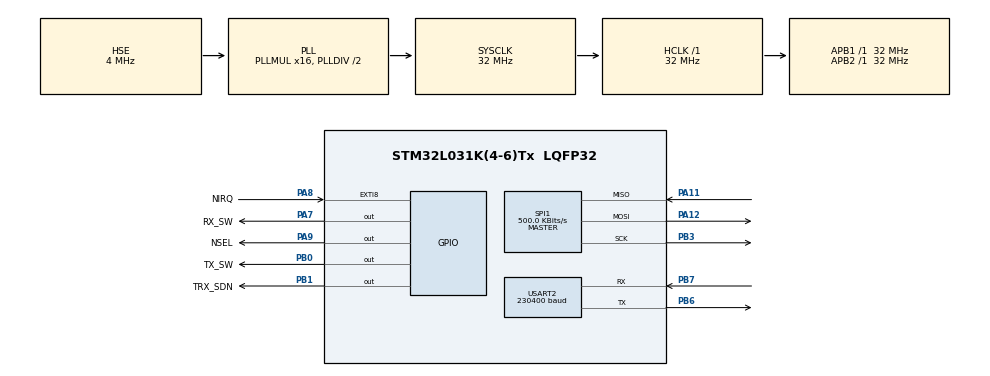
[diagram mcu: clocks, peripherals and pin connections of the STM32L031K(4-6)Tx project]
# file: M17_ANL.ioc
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Mcu.Family=STM32L0
Mcu.Name=STM32L031K(4-6)Tx
Mcu.Package=LQFP32
NVIC.EXTI4_15_IRQn=true\:0\:0\:false\:false\:true\:true
NVIC.TIM21_IRQn=true\:0\:0\:false\:false\:true\:true
NVIC.TIM2_IRQn=true\:0\:0\:false\:false\:true\:true
NVIC.USART2_IRQn=true\:0\:0\:false\:false\:true\:true
PA0-CK_IN.Mode=HSE-External-Clock-Source-for-LittleNemo
PA0-CK_IN.Signal=RCC_CK_IN
PA11.GPIO_PuPd=GPIO_PULLUP
PA11.Mode=Full_Duplex_Master
PA11.Signal=SPI1_MISO
PA12.GPIO_PuPd=GPIO_PULLUP
PA12.Mode=Full_Duplex_Master
PA12.Signal=SPI1_MOSI
PA7.GPIO_Label=RX_SW
PA7.GPIO_Speed=GPIO_SPEED_FREQ_MEDIUM
PA7.PinState=GPIO_PIN_SET
PA7.Signal=GPIO_Output
PA8.GPIO_Label=NIRQ
PA8.GPIO_ModeDefaultEXTI=GPIO_MODE_IT_FALLING
PA8.GPIO_PuPd=GPIO_PULLUP
PA8.Signal=GPXTI8
PA9.GPIO_Label=NSEL
PA9.GPIO_Speed=GPIO_SPEED_FREQ_MEDIUM
PA9.PinState=GPIO_PIN_SET
PA9.Signal=GPIO_Output
PB0.GPIO_Label=TX_SW
PB0.GPIO_Speed=GPIO_SPEED_FREQ_MEDIUM
PB0.Signal=GPIO_Output
PB1.GPIO_Label=TRX_SDN
PB1.GPIO_Speed=GPIO_SPEED_FREQ_MEDIUM
PB1.PinState=GPIO_PIN_SET
PB1.Signal=GPIO_Output
PB3.GPIO_PuPd=GPIO_PULLDOWN
PB3.Mode=Full_Duplex_Master
PB3.Signal=SPI1_SCK
PB6.Mode=Asynchronous
PB6.Signal=USART2_TX
PB7.Mode=Asynchronous
PB7.Signal=USART2_RX
ProjectManager.HeapSize=0x200
ProjectManager.StackSize=0x400
ProjectManager.TargetToolchain=SW4STM32
RCC.AHBFreq_Value=32000000
RCC.APB1Freq_Value=32000000
RCC.APB1TimFreq_Value=32000000
RCC.APB2Freq_Value=32000000
RCC.APB2TimFreq_Value=32000000
RCC.HCLKFreq_Value=32000000
RCC.HSE_VALUE=4000000
RCC.HSI16_VALUE=16000000
RCC.HSI_VALUE=16000000
RCC.LSE_VALUE=32768
RCC.MSI_VALUE=2097000
RCC.PLLMUL=RCC_PLLMUL_16
RCC.PLLSourceVirtual=RCC_PLLSOURCE_HSE
RCC.SYSCLKFreq_VALUE=32000000
RCC.SYSCLKSource=RCC_SYSCLKSOURCE_PLLCLK
RCC.VCOOutputFreq_Value=64000000
SPI1.BaudRatePrescaler=SPI_BAUDRATEPRESCALER_64
SPI1.CalculateBaudRate=500.0 KBits/s
SPI1.Direction=SPI_DIRECTION_2LINES
SPI1.Mode=SPI_MODE_MASTER
SPI1.VirtualType=VM_MASTER
TIM2.Period=9
TIM2.Prescaler=31999
TIM2.TIM_MasterOutputTrigger=TIM_TRGO_UPDATE
TIM21.Period=29
TIM21.Prescaler=31999
TIM21.TIM_MasterOutputTrigger=TIM_TRGO_UPDATE
USART2.BaudRate=230400
USART2.VirtualMode-Asynchronous=VM_ASYNC
VP_TIM21_VS_ClockSourceINT.Mode=Internal
VP_TIM2_VS_ClockSourceINT.Mode=Internal
board=custom

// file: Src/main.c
/**
  ******************************************************************************
  * @file           : main.c
  * @brief          : Main program body
  ******************************************************************************
  ** This notice applies to any and all portions of this file
  * that are not between comment pairs USER CODE BEGIN and
  * USER CODE END. Other portions of this file, whether
  * inserted by the user or by software development tools
  * are owned by their respective copyright owners.
  *
  * COPYRIGHT(c) 2019 STMicroelectronics
  *
  * Redistribution and use in source and binary forms, with or without modification,
  * are permitted provided that the following conditions are met:
  *   1. Redistributions of source code must retain the above copyright notice,
  *      this list of conditions and the following disclaimer.
  *   2. Redistributions in binary form must reproduce the above copyright notice,
  *      this list of conditions and the following disclaimer in the documentation
  *      and/or other materials provided with the distribution.
  *   3. Neither the name of STMicroelectronics nor the names of its contributors
  *      may be used to endorse or promote products derived from this software
  *      without specific prior written permission.
  *
  * THIS SOFTWARE IS PROVIDED BY THE COPYRIGHT HOLDERS AND CONTRIBUTORS "AS IS"
  * AND ANY EXPRESS OR IMPLIED WARRANTIES, INCLUDING, BUT NOT LIMITED TO, THE
  * IMPLIED WARRANTIES OF MERCHANTABILITY AND FITNESS FOR A PARTICULAR PURPOSE ARE
  * DISCLAIMED. IN NO EVENT SHALL THE COPYRIGHT HOLDER OR CONTRIBUTORS BE LIABLE
  * FOR ANY DIRECT, INDIRECT, INCIDENTAL, SPECIAL, EXEMPLARY, OR CONSEQUENTIAL
  * DAMAGES (INCLUDING, BUT NOT LIMITED TO, PROCUREMENT OF SUBSTITUTE GOODS OR
  * SERVICES; LOSS OF USE, DATA, OR PROFITS; OR BUSINESS INTERRUPTION) HOWEVER
  * CAUSED AND ON ANY THEORY OF LIABILITY, WHETHER IN CONTRACT, STRICT LIABILITY,
  * OR TORT (INCLUDING NEGLIGENCE OR OTHERWISE) ARISING IN ANY WAY OUT OF THE USE
  * OF THIS SOFTWARE, EVEN IF ADVISED OF THE POSSIBILITY OF SUCH DAMAGE.
  *
  ******************************************************************************
  */
#include "main.h"
#include "stm32l0xx_hal.h"

/* USER CODE BEGIN Includes */
#include "radio_config.h"

#define	FRAMESIZE		160*2					//20+20=40ms frame
#define	RAW_BYTES		8*2
#define	CRC_LEN			2
#define	ENC_LEN			(RAW_BYTES)*2
#define	PLOAD_LEN		93

#define RCVD_BUFF_LEN	110
/* USER CODE END Includes */

SPI_HandleTypeDef hspi1;

TIM_HandleTypeDef htim2;
TIM_HandleTypeDef htim21;

UART_HandleTypeDef huart2;

/* USER CODE BEGIN PV */
/* Private variables ---------------------------------------------------------*/
//UART RELATED
volatile uint8_t    rcvd[RCVD_BUFF_LEN];           //receiving buffer
volatile uint8_t    rcv_cnt=0;          			//received bytes counter
volatile uint8_t    extr_val[12];          			//for extracted value
volatile uint8_t    extr_val_len=0;     			//number of digits
volatile uint32_t   val=0;              			//value
volatile uint8_t    first_tim_int=1;    			//first timer interrupt? for uart rcv timeout

volatile uint8_t    tx_pwr=0;
volatile uint32_t   trx_freq=0;

//Si 446x RELATED
static const uint8_t config[] = RADIO_CONFIGURATION_DATA_ARRAY;
volatile uint8_t ints[8];					//interrupts

//RADIO STATE
volatile uint8_t r_initd=0;					//initialized?

//RCV FIELDS - EXTRACTED FROM RECEIVED DATA
volatile uint8_t rcv_buff[PLOAD_LEN];
volatile uint8_t rcv_voice[RAW_BYTES];

//TX-RX
volatile uint8_t first_rx=1;						//is this the first TX->RX switchover?
/* USER CODE END PV */

void SystemClock_Config(void);
static void MX_GPIO_Init(void);
static void MX_TIM2_Init(void);
static void MX_SPI1_Init(void);
static void MX_USART2_UART_Init(void);
static void MX_TIM21_Init(void);

/* USER CODE BEGIN PFP */
/* Private function prototypes -----------------------------------------------*/

/* USER CODE END PFP */

/* USER CODE BEGIN 0 */
//------------------------------SPI - Si4463------------------------------
/*void HAL_SPI_TxCpltCallback(SPI_HandleTypeDef *hspi)
{
	HAL_GPIO_WritePin(SPI2_CS_GPIO_Port, SPI2_CS_Pin, 1);
}*/

/*void HAL_SPI_RxCpltCallback(SPI_HandleTypeDef *hspi)
{
	//HAL_GPIO_WritePin(SPI2_CS_GPIO_Port, SPI2_CS_Pin, 1);
}*/

void SPI_WaitForCTS(void)
{
	uint8_t cts[1]={0x00};
	const uint8_t dta[1]={0x44};

	do
	{
		HAL_GPIO_WritePin(NSEL_GPIO_Port, NSEL_Pin, 0);
		HAL_SPI_Transmit(&hspi1, dta, 1, 100);
		HAL_SPI_Receive(&hspi1, cts, 1, 100);
		//if(cts[0]!=0xFF)
			HAL_GPIO_WritePin(NSEL_GPIO_Port, NSEL_Pin, 1);
	}while(cts[0]!=0xFF);
}

void SPI_Send(uint8_t *data, uint8_t len)
{
	SPI_WaitForCTS();
	HAL_GPIO_WritePin(NSEL_GPIO_Port, NSEL_Pin, 0);
	HAL_SPI_Transmit(&hspi1, data, len, 100);
	HAL_GPIO_WritePin(NSEL_GPIO_Port, NSEL_Pin, 1);
}

void SPI_GetResponse(uint8_t len, uint8_t *data)
{
	uint8_t cts[1]={0x00};
	uint8_t dta[1]={0x44};

	while(cts[0]!=0xFF)
	{
		HAL_GPIO_WritePin(NSEL_GPIO_Port, NSEL_Pin, 0);
		HAL_SPI_Transmit(&hspi1, dta, 1, 100);
		HAL_SPI_Receive(&hspi1, cts, 1, 1);

		if(cts[0]!=0xFF)
			HAL_GPIO_WritePin(NSEL_GPIO_Port, NSEL_Pin, 1);
	}

	HAL_SPI_Receive(&hspi1, data, len, 100);

	HAL_GPIO_WritePin(NSEL_GPIO_Port, NSEL_Pin, 1);
}

void SPI_ReadRxDataBuff(uint8_t len, uint8_t *data)
{
	uint8_t cmd[1]={0x77};

	HAL_GPIO_WritePin(NSEL_GPIO_Port, NSEL_Pin, 0);
	HAL_SPI_Transmit(&hspi1, cmd, 1, 100);
	HAL_SPI_Receive(&hspi1, data, len, 100);
	HAL_GPIO_WritePin(NSEL_GPIO_Port, NSEL_Pin, 1);
}

//------------------------------Si446x FUNCS------------------------------
void Si_Reset(void)
{
	HAL_GPIO_WritePin(TRX_SDN_GPIO_Port, TRX_SDN_Pin, 1);
	HAL_Delay(1);
	HAL_GPIO_WritePin(TRX_SDN_GPIO_Port, TRX_SDN_Pin, 0);
	HAL_Delay(5);
}

static void Si_SetProp(uint8_t* vals, uint8_t group, uint8_t number, uint8_t len)
{
	uint8_t data[16]={0x11,	group, len, number};

	memcpy(data + 4, vals, len);

	SPI_WaitForCTS();
	SPI_Send(data, len + 4);
}

static void Si_StartupConfig(void)
{
	uint8_t buff[17];

	for(uint16_t i=0; i<sizeof(config); i++)
	{
		memcpy(buff, &config[i], sizeof(buff));
		SPI_WaitForCTS();
		SPI_Send(&buff[1], buff[0]);
		i += buff[0];
	}
}

static void Si_Interrupts(void* buff)
{
	uint8_t data = 0x20;

	SPI_Send(&data, 1);
	if(buff!=NULL)
		SPI_GetResponse(8, buff);
}

/*static void Si_InterruptsNoCTS(void* buff)
{
	uint8_t v = 0x20;

	HAL_GPIO_WritePin(SPI2_CS_GPIO_Port, SPI2_CS_Pin, 0);
	HAL_SPI_Transmit(&hspi2, &v, 1, 100);
	HAL_SPI_Receive(&hspi2, buff, 8, 100);
	HAL_GPIO_WritePin(SPI2_CS_GPIO_Port, SPI2_CS_Pin, 1);
}*/

static void Si_Interrupts2(void* buff, uint8_t clearPH, uint8_t clearMODEM, uint8_t clearCHIP)
{
	uint8_t data[] = {
		0x20,
		clearPH,
		clearMODEM,
		clearCHIP
	};

	SPI_Send(data, 4);
	if(buff!=NULL)
		SPI_GetResponse(8, buff);
}

static uint8_t Si_GetState(void)
{
	uint8_t state[2]={0, 0};
	uint8_t get_state_cmd=0x33;

	SPI_WaitForCTS();
	SPI_Send(&get_state_cmd, 1);
	SPI_GetResponse(2, state);

	return state[0]&0x0F;
}

static void Si_SetState(uint8_t newState)
{
	uint8_t data[2]={0x34, newState};

	SPI_Send(data, 2);
}

void Si_Sleep(void)
{
	uint8_t state=Si_GetState();

	if(state==7 || state==5)
		return;

	Si_SetState(1);
}

void Si_SetTxPower(uint8_t pwr)
{
	/*uint8_t msg[5]={0x11, 0x22, 0x01, 0x01, pwr};

	SPI_Send(&msg, 5);*/
	Si_SetProp(&pwr, 0x22, 0x01, 1);
}

void Si_ClearFIFO(uint8_t fifos)
{
	uint8_t msg[3]={0x15, fifos};

	SPI_Send(&msg, 2);
}

void Si_WriteTxDataBuff(uint8_t *data, uint8_t len)
{
	uint8_t cmd = 0x66;

	HAL_GPIO_WritePin(NSEL_GPIO_Port, NSEL_Pin, 0);
	HAL_SPI_Transmit(&hspi1, &cmd, 1, 100);
	HAL_SPI_Transmit(&hspi1, data, len, 100);
	HAL_GPIO_WritePin(NSEL_GPIO_Port, NSEL_Pin, 1);
}

void Si_StartTx(uint8_t ch, uint8_t end_state, uint8_t tx_len)
{
	uint8_t msg[7]={0x31, ch, (uint8_t)end_state<<4, 0, tx_len, 0, 0};

	SPI_WaitForCTS();
	SPI_Send(&msg, 7);
}

void Si_StartRx(uint8_t ch, uint8_t len)
{
	//Si_SetState(3);		//RX state
	Si_ClearFIFO(3);	//clear both FIFOs
	//Si_Interrupts2(NULL, 0, 0, 0xFF);	//clear some interrupts

	uint8_t msg[8]={0x32, ch, 0, 0, len, 0x08, 0x08, 0x08};

	SPI_Send(msg, 8);
}

void Si_TxData(uint8_t *d, uint8_t len, uint8_t ch)
{
	Si_ClearFIFO(3);
	Si_Interrupts2(NULL, 0, 0, 0xFF);

	Si_WriteTxDataBuff(d, len);
	Si_StartTx(ch, 3, len);	//3 - READY state after TX complete
}

void Si_FreqSet(uint32_t freq)	//freq in Hz
{
	uint8_t inte=0x3C;	//default values
	uint64_t frac=0x00080000;

	freq=freq*(30.0/32.0);
	inte=freq/7500000-1;
	frac=(freq-(uint32_t)(inte+1)*7500000)/75;
	frac=(uint64_t)frac*(1<<19)/100000+(uint32_t)(1<<19);

	uint8_t vals[4]={inte, (frac>>16)&0xFF, (frac>>8)&0xFF, frac&0xFF};

	Si_SetProp(&vals, 0x40, 0x00, 4);
}

uint8_t Si_GetRSSI(void)
{
	uint8_t v=0x50;
	uint8_t r[4];

	HAL_GPIO_WritePin(NSEL_GPIO_Port, NSEL_Pin, 0);
	HAL_SPI_Transmit(&hspi1, &v, 1, 100);
	HAL_SPI_Receive(&hspi1, r, 4, 100);
	HAL_GPIO_WritePin(NSEL_GPIO_Port, NSEL_Pin, 1);

	return r[0];
}

void Si_GetInfo(uint8_t *resp)
{
	uint8_t cmd=0x01;

	SPI_Send(&cmd, 1);
	SPI_WaitForCTS();
	SPI_GetResponse(8, resp);
}

uint8_t checkTRX(void)
{
	uint8_t info[8];

	Si_GetInfo(info);

	if(info[1]==0x44 && info[2]==0x63)
		return 0;

	return 1;
}

//------------------------------RF SWITCH FUNCS------------------------------
static void RF_SetTX(void)
{
	HAL_GPIO_WritePin(RX_SW_GPIO_Port, RX_SW_Pin, 0);
	HAL_GPIO_WritePin(TX_SW_GPIO_Port, TX_SW_Pin, 1);
	//r_tx=1;
}

static void RF_SetRX(void)
{
	HAL_GPIO_WritePin(RX_SW_GPIO_Port, RX_SW_Pin, 1);
	HAL_GPIO_WritePin(TX_SW_GPIO_Port, TX_SW_Pin, 0);
	//r_tx=0;
}
//--------------------------INTERRUPTS----------------------
void HAL_GPIO_EXTI_Callback(uint16_t GPIO_Pin)
{
	//Si4463 TRX module interrupt
	if(GPIO_Pin==GPIO_PIN_8 && r_initd)
	{
		//Si nIRQ interrupt request
		Si_Interrupts(ints);	//check pending interrupt flags

		//PACKET_RX_PEND flag set?
		if(ints[2]&(1<<4))
		{
			//retrieve RX buff contents
			SPI_ReadRxDataBuff(PLOAD_LEN, rcv_buff);
			Si_ClearFIFO(3);

			//scanner mode
			HAL_UART_Transmit(&huart2, "AT+FRAME=", 9, 100);
			HAL_UART_Transmit(&huart2, rcv_buff, PLOAD_LEN, 100);
			HAL_UART_Transmit(&huart2, "\r\n", 2, 100);
		}

		//clear pending flags
		Si_Interrupts(NULL);
	}
}

void HAL_UART_RxCpltCallback(UART_HandleTypeDef *huart)
{
	if(rcvd[0]=='A' && rcvd[1]=='T' && rcvd[2]=='+')
	{
		if(rcvd[3]=='F' && rcvd[4]=='R')
		{
			if(rcvd[5]=='A' && rcvd[6]=='M' && rcvd[7]=='E' && rcvd[PLOAD_LEN+9]=='\r' && rcvd[PLOAD_LEN+10]=='\n')
			{
				RF_SetTX();
				memcpy(rcv_buff, &rcvd[9], PLOAD_LEN);
				Si_TxData(rcv_buff, PLOAD_LEN, 0);
				HAL_TIM_Base_Start_IT(&htim21);
				HAL_UART_Transmit(&huart2, "OK\r\n", 4, 100);
				memset(rcvd, 0, sizeof(rcvd));
				rcv_cnt=0;
				HAL_UART_Receive_IT(&huart2, &rcvd[0], 1);
			}
			else if(rcvd[5]=='E' && rcvd[6]=='Q')
			{
				if(rcvd[7]=='?' && rcvd[8]=='\r' &&  rcvd[9]=='\n')
				{
					uint8_t resp[22];
					sprintf(resp, "FREQ=%lu\r\n", trx_freq);
					HAL_UART_Transmit(&huart2, resp, strlen(resp), 100);
					memset(rcvd, 0, sizeof(rcvd));
					rcv_cnt=0;
					HAL_UART_Receive_IT(&huart2, &rcvd[0], 1);
				}
				else if(rcvd[7]=='=' && rcvd[17]=='\r' &&  rcvd[18]=='\n')
				{
					for(uint8_t i=8; i<20; i++)
					{
						if((rcvd[i]<'0' || rcvd[i]>'9') && (rcvd[i]!='\r' && rcvd[i]!='\n'))
						{
							extr_val_len=0;
							break;
						}
						if(rcvd[i]=='\r')
						{
							extr_val_len=i-8;
							break;
						}
					}
					if(extr_val_len==9)
					{
						uint32_t mult=1;
						for(int8_t i=extr_val_len-1; i>=0; i--)
						{
							val+=(rcvd[8+i]-'0')*mult;
							mult*=10;
						}
						trx_freq=val;
						Si_FreqSet(trx_freq);
						uint8_t resp[22];
						sprintf(resp, "FREQ=%lu\r\n", val);
						HAL_UART_Transmit(&huart2, resp, strlen(resp), 100);
					}
					else
					{
						HAL_UART_Transmit(&huart2, "ERROR\r\n", 7, 100);
					}

					val=0;
					memset(rcvd, 0, sizeof(rcvd));
					rcv_cnt=0;
					HAL_UART_Receive_IT(&huart2, &rcvd[0], 1);
				}
			}
		}
		else if(rcvd[3]=='P' && rcvd[4]=='W' && rcvd[5]=='R')
		{
			if(rcvd[6]=='?')
			{
				if(rcvd[7]=='\r' && rcvd[8]=='\n')
				{
					uint8_t resp[22];
					sprintf(resp, "PWR=%u\r\n", tx_pwr);
					HAL_UART_Transmit(&huart2, resp, strlen(resp), 100);
					memset(rcvd, 0, sizeof(rcvd));
					rcv_cnt=0;
					HAL_UART_Receive_IT(&huart2, &rcvd[0], 1);
				}
			}
			else if(rcvd[6]=='=' && (rcvd[8]=='\r' || rcvd[9]=='\r' || rcvd[10]=='\r'))
			{
				for(uint8_t i=7; i<15; i++)
				{
					if((rcvd[i]<'0' || rcvd[i]>'9') && (rcvd[i]!='\r' && rcvd[i]!='\n'))
					{
						extr_val_len=0;
						break;
					}
					if(rcvd[i]=='\r')
					{
						extr_val_len=i-7;
						break;
					}
				}
				if(extr_val_len!=0)
				{
					uint32_t mult=1;
					for(int8_t i=extr_val_len-1; i>=0; i--)
					{
						val+=(rcvd[7+i]-'0')*mult;
						mult*=10;
					}
					tx_pwr=val;
					Si_SetTxPower(tx_pwr);
					uint8_t resp[22];
					sprintf(resp, "PWR=%u\r\n", val);
					HAL_UART_Transmit(&huart2, resp, strlen(resp), 100);
				}
				else
				{
					HAL_UART_Transmit(&huart2, "ERROR\r\n", 7, 100);
				}

				val=0;
				memset(rcvd, 0, sizeof(rcvd));
				rcv_cnt=0;
				HAL_UART_Receive_IT(&huart2, &rcvd[0], 1);
			}
		}
	}

	rcv_cnt++;
	HAL_UART_Receive_IT(&huart2, &rcvd[rcv_cnt], 1);
	TIM2->CNT=0;
	HAL_TIM_Base_Start_IT(&htim2);
}

void HAL_TIM_PeriodElapsedCallback(TIM_HandleTypeDef *htim)
{
	if(htim->Instance==TIM2)	//10ms UART receive timeout
	{
		if(first_tim_int)
			first_tim_int=0;
		else
		{
			memset(rcvd, 0, sizeof(rcvd));
			rcv_cnt=0;
			HAL_UART_AbortReceive_IT(&huart2);
			HAL_UART_Receive_IT(&huart2, &rcvd[0], 1);
			HAL_TIM_Base_Stop_IT(&htim2);
			TIM2->CNT=0;
		}
	}
	else if(htim->Instance==TIM21)	//30ms after starting TX switch back to RX mode
	{
		if(first_rx)
		{
			first_rx=0;
		}
		else
		{
			Si_StartRx(0, PLOAD_LEN);
			HAL_TIM_Base_Stop_IT(&htim21);
			TIM21->CNT=0;
		}
	}
}
/* USER CODE END 0 */

int main(void)
{
  /* USER CODE BEGIN 1 */
  memset(rcvd, 0, RCVD_BUFF_LEN);
  /* USER CODE END 1 */

  /* MCU Configuration----------------------------------------------------------*/

  /* Reset of all peripherals, Initializes the Flash interface and the Systick. */
  HAL_Init();

  /* Configure the system clock */
  SystemClock_Config();

  /* Initialize all configured peripherals */
  MX_GPIO_Init();
  MX_TIM2_Init();
  MX_SPI1_Init();
  MX_USART2_UART_Init();
  MX_TIM21_Init();
  /* USER CODE BEGIN 2 */
  //HAL_GPIO_WritePin(NSEL_GPIO_Port, NSEL_Pin, 0);
  RF_SetRX();
  HAL_Delay(500);
  Si_Reset();
  if(checkTRX())	//fucked up comms with Si4463?
  {
	  HAL_UART_Transmit(&huart2, "M17_ANL INIT ERR\r\n", 17, 100);
  	  while(1);
  }

  Si_StartupConfig();
  Si_Interrupts(NULL);
  Si_Sleep();
  trx_freq=439575000;
  Si_FreqSet(trx_freq);
  Si_SetTxPower(tx_pwr);
  Si_StartRx(0, PLOAD_LEN);
  r_initd=1;	//we need this to avoid getting Si IRQ request right after power-up sequence

  HAL_UART_Transmit(&huart2, "M17_ANL INIT OK\r\n", 17, 100);
  HAL_UART_Receive_IT(&huart2, &rcvd[0], 1);
  /* USER CODE END 2 */

  /* Infinite loop */
  /* USER CODE BEGIN WHILE */
  while (1)
  {
	  ;
  /* USER CODE END WHILE */

  }

}

void SystemClock_Config(void)
{

  RCC_OscInitTypeDef RCC_OscInitStruct;
  RCC_ClkInitTypeDef RCC_ClkInitStruct;
  RCC_PeriphCLKInitTypeDef PeriphClkInit;

    /**Configure the main internal regulator output voltage
    */
  __HAL_PWR_VOLTAGESCALING_CONFIG(PWR_REGULATOR_VOLTAGE_SCALE1);

    /**Initializes the CPU, AHB and APB busses clocks
    */
  RCC_OscInitStruct.OscillatorType = RCC_OSCILLATORTYPE_HSE;
  RCC_OscInitStruct.HSEState = RCC_HSE_BYPASS;
  RCC_OscInitStruct.PLL.PLLState = RCC_PLL_ON;
  RCC_OscInitStruct.PLL.PLLSource = RCC_PLLSOURCE_HSE;
  RCC_OscInitStruct.PLL.PLLMUL = RCC_PLLMUL_16;
  RCC_OscInitStruct.PLL.PLLDIV = RCC_PLLDIV_2;
  if (HAL_RCC_OscConfig(&RCC_OscInitStruct) != HAL_OK)
  {
    _Error_Handler(__FILE__, __LINE__);
  }

    /**Initializes the CPU, AHB and APB busses clocks
    */
  RCC_ClkInitStruct.ClockType = RCC_CLOCKTYPE_HCLK|RCC_CLOCKTYPE_SYSCLK
                              |RCC_CLOCKTYPE_PCLK1|RCC_CLOCKTYPE_PCLK2;
  RCC_ClkInitStruct.SYSCLKSource = RCC_SYSCLKSOURCE_PLLCLK;
  RCC_ClkInitStruct.AHBCLKDivider = RCC_SYSCLK_DIV1;
  RCC_ClkInitStruct.APB1CLKDivider = RCC_HCLK_DIV1;
  RCC_ClkInitStruct.APB2CLKDivider = RCC_HCLK_DIV1;

  if (HAL_RCC_ClockConfig(&RCC_ClkInitStruct, FLASH_LATENCY_1) != HAL_OK)
  {
    _Error_Handler(__FILE__, __LINE__);
  }

  PeriphClkInit.PeriphClockSelection = RCC_PERIPHCLK_USART2;
  PeriphClkInit.Usart2ClockSelection = RCC_USART2CLKSOURCE_PCLK1;
  if (HAL_RCCEx_PeriphCLKConfig(&PeriphClkInit) != HAL_OK)
  {
    _Error_Handler(__FILE__, __LINE__);
  }

    /**Configure the Systick interrupt time
    */
  HAL_SYSTICK_Config(HAL_RCC_GetHCLKFreq()/1000);

    /**Configure the Systick
    */
  HAL_SYSTICK_CLKSourceConfig(SYSTICK_CLKSOURCE_HCLK);

  /* SysTick_IRQn interrupt configuration */
  HAL_NVIC_SetPriority(SysTick_IRQn, 0, 0);
}

/* SPI1 init function */
static void MX_SPI1_Init(void)
{

  /* SPI1 parameter configuration*/
  hspi1.Instance = SPI1;
  hspi1.Init.Mode = SPI_MODE_MASTER;
  hspi1.Init.Direction = SPI_DIRECTION_2LINES;
  hspi1.Init.DataSize = SPI_DATASIZE_8BIT;
  hspi1.Init.CLKPolarity = SPI_POLARITY_LOW;
  hspi1.Init.CLKPhase = SPI_PHASE_1EDGE;
  hspi1.Init.NSS = SPI_NSS_SOFT;
  hspi1.Init.BaudRatePrescaler = SPI_BAUDRATEPRESCALER_64;
  hspi1.Init.FirstBit = SPI_FIRSTBIT_MSB;
  hspi1.Init.TIMode = SPI_TIMODE_DISABLE;
  hspi1.Init.CRCCalculation = SPI_CRCCALCULATION_DISABLE;
  hspi1.Init.CRCPolynomial = 7;
  if (HAL_SPI_Init(&hspi1) != HAL_OK)
  {
    _Error_Handler(__FILE__, __LINE__);
  }

}

/* TIM2 init function */
static void MX_TIM2_Init(void)
{

  TIM_ClockConfigTypeDef sClockSourceConfig;
  TIM_MasterConfigTypeDef sMasterConfig;

  htim2.Instance = TIM2;
  htim2.Init.Prescaler = 31999;
  htim2.Init.CounterMode = TIM_COUNTERMODE_UP;
  htim2.Init.Period = 9;
  htim2.Init.ClockDivision = TIM_CLOCKDIVISION_DIV1;
  if (HAL_TIM_Base_Init(&htim2) != HAL_OK)
  {
    _Error_Handler(__FILE__, __LINE__);
  }

  sClockSourceConfig.ClockSource = TIM_CLOCKSOURCE_INTERNAL;
  if (HAL_TIM_ConfigClockSource(&htim2, &sClockSourceConfig) != HAL_OK)
  {
    _Error_Handler(__FILE__, __LINE__);
  }

  sMasterConfig.MasterOutputTrigger = TIM_TRGO_UPDATE;
  sMasterConfig.MasterSlaveMode = TIM_MASTERSLAVEMODE_DISABLE;
  if (HAL_TIMEx_MasterConfigSynchronization(&htim2, &sMasterConfig) != HAL_OK)
  {
    _Error_Handler(__FILE__, __LINE__);
  }

}

/* TIM21 init function */
static void MX_TIM21_Init(void)
{

  TIM_ClockConfigTypeDef sClockSourceConfig;
  TIM_MasterConfigTypeDef sMasterConfig;

  htim21.Instance = TIM21;
  htim21.Init.Prescaler = 31999;
  htim21.Init.CounterMode = TIM_COUNTERMODE_UP;
  htim21.Init.Period = 29;
  htim21.Init.ClockDivision = TIM_CLOCKDIVISION_DIV1;
  if (HAL_TIM_Base_Init(&htim21) != HAL_OK)
  {
    _Error_Handler(__FILE__, __LINE__);
  }

  sClockSourceConfig.ClockSource = TIM_CLOCKSOURCE_INTERNAL;
  if (HAL_TIM_ConfigClockSource(&htim21, &sClockSourceConfig) != HAL_OK)
  {
    _Error_Handler(__FILE__, __LINE__);
  }

  sMasterConfig.MasterOutputTrigger = TIM_TRGO_UPDATE;
  sMasterConfig.MasterSlaveMode = TIM_MASTERSLAVEMODE_DISABLE;
  if (HAL_TIMEx_MasterConfigSynchronization(&htim21, &sMasterConfig) != HAL_OK)
  {
    _Error_Handler(__FILE__, __LINE__);
  }

}

/* USART2 init function */
static void MX_USART2_UART_Init(void)
{

  huart2.Instance = USART2;
  huart2.Init.BaudRate = 230400;
  huart2.Init.WordLength = UART_WORDLENGTH_8B;
  huart2.Init.StopBits = UART_STOPBITS_1;
  huart2.Init.Parity = UART_PARITY_NONE;
  huart2.Init.Mode = UART_MODE_TX_RX;
  huart2.Init.HwFlowCtl = UART_HWCONTROL_NONE;
  huart2.Init.OverSampling = UART_OVERSAMPLING_16;
  huart2.Init.OneBitSampling = UART_ONE_BIT_SAMPLE_DISABLE;
  huart2.AdvancedInit.AdvFeatureInit = UART_ADVFEATURE_NO_INIT;
  if (HAL_UART_Init(&huart2) != HAL_OK)
  {
    _Error_Handler(__FILE__, __LINE__);
  }

}

/** Configure pins as
        * Analog
        * Input
        * Output
        * EVENT_OUT
        * EXTI
*/
static void MX_GPIO_Init(void)
{

  GPIO_InitTypeDef GPIO_InitStruct;

  /* GPIO Ports Clock Enable */
  __HAL_RCC_GPIOA_CLK_ENABLE();
  __HAL_RCC_GPIOB_CLK_ENABLE();

  /*Configure GPIO pin Output Level */
  HAL_GPIO_WritePin(GPIOA, RX_SW_Pin|NSEL_Pin, GPIO_PIN_SET);

  /*Configure GPIO pin Output Level */
  HAL_GPIO_WritePin(TX_SW_GPIO_Port, TX_SW_Pin, GPIO_PIN_RESET);

  /*Configure GPIO pin Output Level */
  HAL_GPIO_WritePin(TRX_SDN_GPIO_Port, TRX_SDN_Pin, GPIO_PIN_SET);

  /*Configure GPIO pins : RX_SW_Pin NSEL_Pin */
  GPIO_InitStruct.Pin = RX_SW_Pin|NSEL_Pin;
  GPIO_InitStruct.Mode = GPIO_MODE_OUTPUT_PP;
  GPIO_InitStruct.Pull = GPIO_NOPULL;
  GPIO_InitStruct.Speed = GPIO_SPEED_FREQ_MEDIUM;
  HAL_GPIO_Init(GPIOA, &GPIO_InitStruct);

  /*Configure GPIO pins : TX_SW_Pin TRX_SDN_Pin */
  GPIO_InitStruct.Pin = TX_SW_Pin|TRX_SDN_Pin;
  GPIO_InitStruct.Mode = GPIO_MODE_OUTPUT_PP;
  GPIO_InitStruct.Pull = GPIO_NOPULL;
  GPIO_InitStruct.Speed = GPIO_SPEED_FREQ_MEDIUM;
  HAL_GPIO_Init(GPIOB, &GPIO_InitStruct);

  /*Configure GPIO pin : NIRQ_Pin */
  GPIO_InitStruct.Pin = NIRQ_Pin;
  GPIO_InitStruct.Mode = GPIO_MODE_IT_FALLING;
  GPIO_InitStruct.Pull = GPIO_PULLUP;
  HAL_GPIO_Init(NIRQ_GPIO_Port, &GPIO_InitStruct);

  /* EXTI interrupt init*/
  HAL_NVIC_SetPriority(EXTI4_15_IRQn, 0, 0);
  HAL_NVIC_EnableIRQ(EXTI4_15_IRQn);

}

void _Error_Handler(char *file, int line)
{
  while(1)
  {
  }
}

/************************ (C) COPYRIGHT STMicroelectronics *****END OF FILE****/
